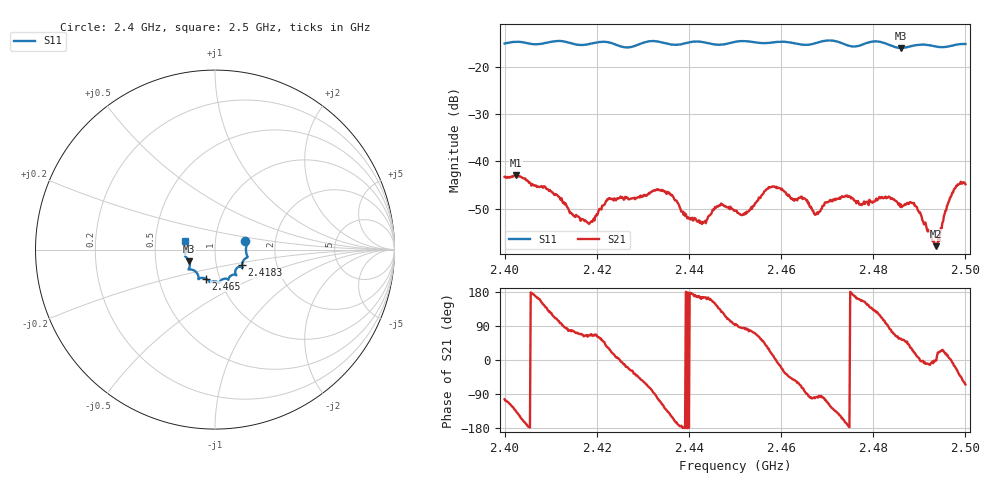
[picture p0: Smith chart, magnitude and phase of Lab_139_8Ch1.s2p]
# Hz S RI R 50
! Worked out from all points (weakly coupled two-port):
!   601 points, 2.4 GHz to 2.5 GHz, reference 50 ohm
!   highest |S21| = -42.96 dB at 2.4025 GHz (marker M1); lowest = -57.9 dB at 2.4937 GHz (marker M2)
!   lowest |S11| = -16.1 dB at 2.486 GHz (marker M3), VSWR 1.37, Z = 37.2 - j4.98 ohm
!   |S11| at or under -10 dB: start of sweep to end of sweep
!   S12 and S22 are empty: the file has one direction only
!   S11 on the Smith chart (normalised r, x): 2.4 GHz: 1.40, +0.13; 2.4183 GHz: 1.33, -0.24; 2.465 GHz: 0.86, -0.29; 2.5 GHz: 0.71, +0.07
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2.4e9  0.1693 0.0458  -0.00163 -0.00668  0 0  0 0
2.4025e9  0.1799 0.035  -0.0051 -0.00496  0 0  0 0
2.409e9  0.1763 -0.0272  -0.00388 0.0034  0 0  0 0
2.416667e9  0.1549 -0.0682  0.000896 0.00231  0 0  0 0
2.418333e9  0.15 -0.0871  0.000918 0.00199  0 0  0 0
2.4225e9  0.1517 -0.0988  0.0034 0.00208  0 0  0 0
2.433333e9  0.1176 -0.1412  -0.00113 -0.00495  0 0  0 0
2.442333e9  0.0737 -0.1682  -0.00216 0.000595  0 0  0 0
2.446667e9  0.047 -0.1637  -0.00239 0.00242  0 0  0 0
2.45e9  0.0255 -0.181  -0.000126 0.00304  0 0  0 0
2.4525e9  0.0204 -0.1844  0.000499 0.0029  0 0  0 0
2.457833e9  -0.017 -0.1785  0.00509 0.0017  0 0  0 0
2.465e9  -0.0523 -0.1619  0.000645 -0.00404  0 0  0 0
2.466667e9  -0.0712 -0.1573  -0.000621 -0.00311  0 0  0 0
2.473833e9  -0.0939 -0.1442  -0.0041 -0.00121  0 0  0 0
2.477333e9  -0.1256 -0.1126  -0.00326 0.00143  0 0  0 0
2.483333e9  -0.1413 -0.0962  0.000187 0.00425  0 0  0 0
2.486e9  -0.143 -0.0652  0.00194 0.00294  0 0  0 0
2.489e9  -0.163 -0.0409  0.00321 0.00112  0 0  0 0
2.493667e9  -0.1623 -0.0129  0.00128 -2.97e-05  0 0  0 0
2.497167e9  -0.1644 0.0295  0.00466 -0.000582  0 0  0 0
2.5e9  -0.167 0.0469  0.00247 -0.00521  0 0  0 0
